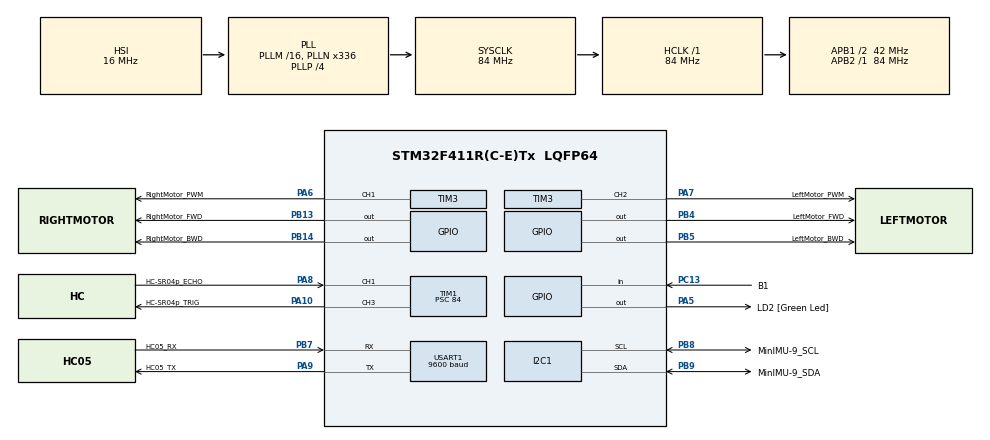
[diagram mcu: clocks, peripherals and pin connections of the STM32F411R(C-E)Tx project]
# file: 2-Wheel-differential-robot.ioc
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Mcu.Family=STM32F4
Mcu.Name=STM32F411R(C-E)Tx
Mcu.Package=LQFP64
NVIC.PriorityGroup=NVIC_PRIORITYGROUP_0
NVIC.TIM1_CC_IRQn=true\:0\:0\:false\:true\:true\:1\:true\:true\:true
NVIC.USART1_IRQn=true\:0\:0\:false\:true\:true\:2\:true\:true\:true
PA10.GPIO_Label=HC-SR04p_TRIG
PA10.Signal=S_TIM1_CH3
PA13.GPIO_Label=TMS
PA13.Mode=Serial_Wire
PA13.Signal=SYS_JTMS-SWDIO
PA14.GPIO_Label=TCK
PA14.Mode=Serial_Wire
PA14.Signal=SYS_JTCK-SWCLK
PA5.GPIO_Label=LD2 [Green Led]
PA5.Signal=GPIO_Output
PA6.GPIO_Label=RightMotor_PWM
PA6.Signal=S_TIM3_CH1
PA7.GPIO_Label=LeftMotor_PWM
PA7.Signal=S_TIM3_CH2
PA8.GPIO_Label=HC-SR04p_ECHO
PA8.Signal=S_TIM1_CH1
PA9.GPIO_Label=HC05_TX
PA9.Mode=Asynchronous
PA9.Signal=USART1_TX
PB13.GPIO_Label=RightMotor_FWD
PB13.GPIO_PuPd=GPIO_PULLDOWN
PB13.Signal=GPIO_Output
PB14.GPIO_Label=RightMotor_BWD
PB14.GPIO_PuPd=GPIO_PULLDOWN
PB14.Signal=GPIO_Output
PB3.GPIO_Label=SWO
PB3.Signal=SYS_JTDO-SWO
PB4.GPIO_Label=LeftMotor_FWD
PB4.GPIO_PuPd=GPIO_PULLDOWN
PB4.Signal=GPIO_Output
PB5.GPIO_Label=LeftMotor_BWD
PB5.GPIO_PuPd=GPIO_PULLDOWN
PB5.Signal=GPIO_Output
PB7.GPIO_Label=HC05_RX
PB7.Mode=Asynchronous
PB7.Signal=USART1_RX
PB8.GPIO_Label=MinIMU-9_SCL
PB8.Mode=I2C
PB8.Signal=I2C1_SCL
PB9.GPIO_Label=MinIMU-9_SDA
PB9.Mode=I2C
PB9.Signal=I2C1_SDA
PC13-ANTI_TAMP.GPIO_Label=B1
PC13-ANTI_TAMP.Signal=GPIO_Input
PC14-OSC32_IN.Mode=LSE-External-Oscillator
PC14-OSC32_IN.Signal=RCC_OSC32_IN
PC15-OSC32_OUT.Mode=LSE-External-Oscillator
PC15-OSC32_OUT.Signal=RCC_OSC32_OUT
PH0\ -\ OSC_IN.Mode=HSE-External-Clock-Source
PH0\ -\ OSC_IN.Signal=RCC_OSC_IN
PH1\ -\ OSC_OUT.Mode=HSE-External-Clock-Source
PH1\ -\ OSC_OUT.Signal=RCC_OSC_OUT
ProjectManager.HeapSize=0x200
ProjectManager.StackSize=0x400
ProjectManager.TargetToolchain=STM32CubeIDE
RCC.48MHZClocksFreq_Value=84000000
RCC.AHBFreq_Value=84000000
RCC.APB1CLKDivider=RCC_HCLK_DIV2
RCC.APB1Freq_Value=42000000
RCC.APB1TimFreq_Value=84000000
RCC.APB2Freq_Value=84000000
RCC.APB2TimFreq_Value=84000000
RCC.CortexFreq_Value=84000000
RCC.FLatency-AdvancedSettings=FLASH_LATENCY_2
RCC.HCLKFreq_Value=84000000
RCC.HSE_VALUE=8000000
RCC.HSI_VALUE=16000000
RCC.PLLN=336
RCC.PLLP=RCC_PLLP_DIV4
RCC.SYSCLKFreq_VALUE=84000000
RCC.SYSCLKSource=RCC_SYSCLKSOURCE_PLLCLK
RCC.VCOOutputFreq_Value=336000000
SH.S_TIM1_CH1.0=TIM1_CH1,Input_Capture1_from_TI1
SH.S_TIM1_CH3.0=TIM1_CH3,PWM Generation3 CH3
SH.S_TIM3_CH1.0=TIM3_CH1,PWM Generation1 CH1
SH.S_TIM3_CH2.0=TIM3_CH2,PWM Generation2 CH2
TIM1.Channel-Input_Capture1_from_TI1=TIM_CHANNEL_1
TIM1.Channel-Input_Capture2_from_TI1_63=TIM_CHANNEL_2
TIM1.Channel-PWM\ Generation3\ CH3=TIM_CHANNEL_3
TIM1.ICPolarity_CH2=TIM_INPUTCHANNELPOLARITY_FALLING
TIM1.Prescaler=84
TIM1.Pulse-PWM\ Generation3\ CH3=10
TIM3.Channel-PWM\ Generation1\ CH1=TIM_CHANNEL_1
TIM3.Channel-PWM\ Generation2\ CH2=TIM_CHANNEL_2
TIM3.Period=999
TIM3.Prescaler=41
TIM3.Pulse-PWM\ Generation1\ CH1=500
TIM3.Pulse-PWM\ Generation2\ CH2=500
USART1.BaudRate=9600
USART1.VirtualMode=VM_ASYNC
VP_TIM1_VS_ClockSourceINT.Mode=Internal
VP_TIM1_VS_indirect_ch1.Mode=Input_Capture2_from_TI1_63
VP_TIM2_VS_ClockSourceINT.Mode=Internal
VP_TIM3_VS_ClockSourceINT.Mode=Internal
board=NUCLEO-F411RE

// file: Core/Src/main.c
/* USER CODE BEGIN Header */
/**
  ******************************************************************************
  * @file           : main.c
  * @brief          : Main program body
  ******************************************************************************
  * @attention
  *
  * Copyright (c) 2023 STMicroelectronics.
  * All rights reserved.
  *
  * This software is licensed under terms that can be found in the LICENSE file
  * in the root directory of this software component.
  * If no LICENSE file comes with this software, it is provided AS-IS.
  *
  ******************************************************************************
  */
/* USER CODE END Header */
#include "main.h"
#include "i2c.h"
#include "tim.h"
#include "usart.h"
#include "gpio.h"

/* USER CODE BEGIN Includes */
#include <stdbool.h>
#include <stdio.h>
#include <string.h>

#include "my_lib/Button.h"
#include "my_lib/HCSR04p.h"
#include "my_lib/L298N.h"
#include "my_lib/RingBuffer.h"
#include "my_lib/utils.h"
#include "my_lib/complex_parser.h"
#include "my_lib/Robot.h"
#include "my_lib/LSM6DS33.h"
/* USER CODE END Includes */

/* USER CODE BEGIN PD */
#define HCSR04p_TRIGGER_TIMER htim1
#define HCSR04p_ECHO_TIMER htim1
#define HCSR04p_TRIG_CHANNEL TIM_CHANNEL_3
#define HCSR04p_START_CHANNEL TIM_CHANNEL_1
#define HCSR04p_STOP_CHANNEL TIM_CHANNEL_2

/* USER CODE END PD */

/* USER CODE BEGIN PV */

HCSR04p_t HCSR04p_front;

Button_t BlueKey;

HAL_StatusTypeDef Status_RX;

Motor_t LeftMotor, RightMotor;

RingBuffer_t RX_Buffer;
uint8_t RX_Temp;
uint8_t RX_Lines;
uint8_t Recevied_Data[RING_BUFFER_SIZE];

PID_t DistancePID;

Robot_t Robot;

LSM6DS33_t LSM6DS33;
char LSMM6DS33_Msg[50];

/* USER CODE END PV */

void SystemClock_Config(void);
static void MX_NVIC_Init(void);

int main(void)
{

  /* MCU Configuration--------------------------------------------------------*/

  /* Reset of all peripherals, Initializes the Flash interface and the Systick. */
  HAL_Init();

  /* Configure the system clock */
  SystemClock_Config();

  /* Initialize all configured peripherals */
  MX_GPIO_Init();
  MX_TIM2_Init();
  MX_TIM1_Init();
  MX_TIM3_Init();
  MX_USART1_UART_Init();
  MX_I2C1_Init();

  /* Initialize interrupts */
  MX_NVIC_Init();
  /* USER CODE BEGIN 2 */

  LSM6DS33_Init(&LSM6DS33, &hi2c1, LSM6DS33_SAD);

  HCSR04p_Init(&HCSR04p_front, &HCSR04p_TRIGGER_TIMER, HCSR04p_TRIG_CHANNEL, &HCSR04p_ECHO_TIMER, HCSR04p_START_CHANNEL, HCSR04p_STOP_CHANNEL);
  PID_Init(&DistancePID, 100.0, 1.0, 10.0);

  Button_Init(&BlueKey, B1_GPIO_Port, B1_Pin, 20);

  L298N_MotorInit(&LeftMotor, LeftMotor_FWD_GPIO_Port, LeftMotor_FWD_Pin, LeftMotor_BWD_GPIO_Port, LeftMotor_BWD_Pin);
  L298N_MotorInit(&RightMotor, RightMotor_FWD_GPIO_Port, RightMotor_FWD_Pin, RightMotor_BWD_GPIO_Port, RightMotor_BWD_Pin);

  Robot_Init(&Robot, false, false, false, 0.0, 0.0);

  HAL_TIM_PWM_Start(&htim3, TIM_CHANNEL_1); //Left motor speed
  HAL_TIM_PWM_Start(&htim3, TIM_CHANNEL_2); //Right motor speed

  Status_RX = HAL_UART_Receive_IT(&huart1, &RX_Temp, 1);

  uint8_t LSM6DS33_status;

  /* USER CODE END 2 */

  /* Infinite loop */
  /* USER CODE BEGIN WHILE */
  while (1)
  {
	  LSM6DS33_status = LSM6DS33_DataStatus(&LSM6DS33);

	  if(LSM6DS33_status == 3)
	  {
		  //read acc and gyro
		  LSM6DS33_ReadAccAndGyroData(&LSM6DS33);

		  sprintf(LSMM6DS33_Msg,"%d %d %d %d %d %d\n", LSM6DS33.Acc_X, LSM6DS33.Acc_Y, LSM6DS33.Acc_Z,
				  LSM6DS33.Gyro_X, LSM6DS33.Gyro_Y, LSM6DS33.Gyro_Z);
		  UartLog(LSMM6DS33_Msg); //send data for visualisation program, comment if u dont use it

	  }
	  Button_Task(&BlueKey, &Robot.Enable); //Check button state

	  if(RX_Lines > 0)
	  {
		  Parser_TakeLine(&RX_Buffer, Recevied_Data);
		  RX_Lines--;
		  Parser_Parse(&Robot, Recevied_Data);
	  }
	  if(Robot.Enable)
	  {
	      HCSR04p_ReadFloat(&HCSR04p_front, &Robot.ReadDistance_f);
		  L298N_MotorTask(&Robot, &LeftMotor, &RightMotor, &DistancePID, &RX_Buffer);
	  }
	  else
	  {
		  Move_Stop(&LeftMotor, &RightMotor);
	  }
    /* USER CODE END WHILE */

  }
}

void SystemClock_Config(void)
{
  RCC_OscInitTypeDef RCC_OscInitStruct = {0};
  RCC_ClkInitTypeDef RCC_ClkInitStruct = {0};

  /** Configure the main internal regulator output voltage
  */
  __HAL_RCC_PWR_CLK_ENABLE();
  __HAL_PWR_VOLTAGESCALING_CONFIG(PWR_REGULATOR_VOLTAGE_SCALE1);

  /** Initializes the RCC Oscillators according to the specified parameters
  * in the RCC_OscInitTypeDef structure.
  */
  RCC_OscInitStruct.OscillatorType = RCC_OSCILLATORTYPE_HSI;
  RCC_OscInitStruct.HSIState = RCC_HSI_ON;
  RCC_OscInitStruct.HSICalibrationValue = RCC_HSICALIBRATION_DEFAULT;
  RCC_OscInitStruct.PLL.PLLState = RCC_PLL_ON;
  RCC_OscInitStruct.PLL.PLLSource = RCC_PLLSOURCE_HSI;
  RCC_OscInitStruct.PLL.PLLM = 16;
  RCC_OscInitStruct.PLL.PLLN = 336;
  RCC_OscInitStruct.PLL.PLLP = RCC_PLLP_DIV4;
  RCC_OscInitStruct.PLL.PLLQ = 4;
  if (HAL_RCC_OscConfig(&RCC_OscInitStruct) != HAL_OK)
  {
    Error_Handler();
  }

  /** Initializes the CPU, AHB and APB buses clocks
  */
  RCC_ClkInitStruct.ClockType = RCC_CLOCKTYPE_HCLK|RCC_CLOCKTYPE_SYSCLK
                              |RCC_CLOCKTYPE_PCLK1|RCC_CLOCKTYPE_PCLK2;
  RCC_ClkInitStruct.SYSCLKSource = RCC_SYSCLKSOURCE_PLLCLK;
  RCC_ClkInitStruct.AHBCLKDivider = RCC_SYSCLK_DIV1;
  RCC_ClkInitStruct.APB1CLKDivider = RCC_HCLK_DIV2;
  RCC_ClkInitStruct.APB2CLKDivider = RCC_HCLK_DIV1;

  if (HAL_RCC_ClockConfig(&RCC_ClkInitStruct, FLASH_LATENCY_2) != HAL_OK)
  {
    Error_Handler();
  }
}

/**
  * @brief NVIC Configuration.
  * @retval None
  */
static void MX_NVIC_Init(void)
{
  /* TIM1_CC_IRQn interrupt configuration */
  HAL_NVIC_SetPriority(TIM1_CC_IRQn, 0, 0);
  HAL_NVIC_EnableIRQ(TIM1_CC_IRQn);
  /* USART1_IRQn interrupt configuration */
  HAL_NVIC_SetPriority(USART1_IRQn, 0, 0);
  HAL_NVIC_EnableIRQ(USART1_IRQn);
}

/* USER CODE BEGIN 4 */

/** HAL_TIM_IC_CaptureCallback
 * @brief Used to detect and handle falling
 * edge of signal coming from HCSR04p sensor.
 *
 * @param htim pointer to structure that contains Timer configuration.
 *
 * @retval None.
 * */
void HAL_TIM_IC_CaptureCallback(TIM_HandleTypeDef *htim)
{
	if (htim == HCSR04p_front.htim_echo)
	{
		if (htim->Channel == HAL_TIM_ACTIVE_CHANNEL_2)
		{
			HCSR04p_InteruptHandler(&HCSR04p_front, &Robot.ReadDistanceEnable);
		}
	}
}

/** HAL_UART_RxCpltCallback
 * @brief Used to save incoming data from HC-05 BT module to buffer.
 *
 * @param huart pointer to structure that contains UART configuration.
 *
 * @retval None.
 * */
void HAL_UART_RxCpltCallback(UART_HandleTypeDef *huart)
{
	if(huart->Instance == USART1)
	{
		if(Status_RX != HAL_OK)
		{
			UartLog("Error while receiving data\n\r");
		}
		else
		{
			if(RB_OK == RB_Write(&RX_Buffer, RX_Temp))
			{
				if(RX_Temp == END_LINE)
				{
					RX_Lines++;
				}
			}
		}

		Status_RX = HAL_UART_Receive_IT(&huart1, &RX_Temp, 1);
	}
}

/* USER CODE END 4 */

void Error_Handler(void)
{
  __disable_irq();
  while (1)
  {
  }
}
